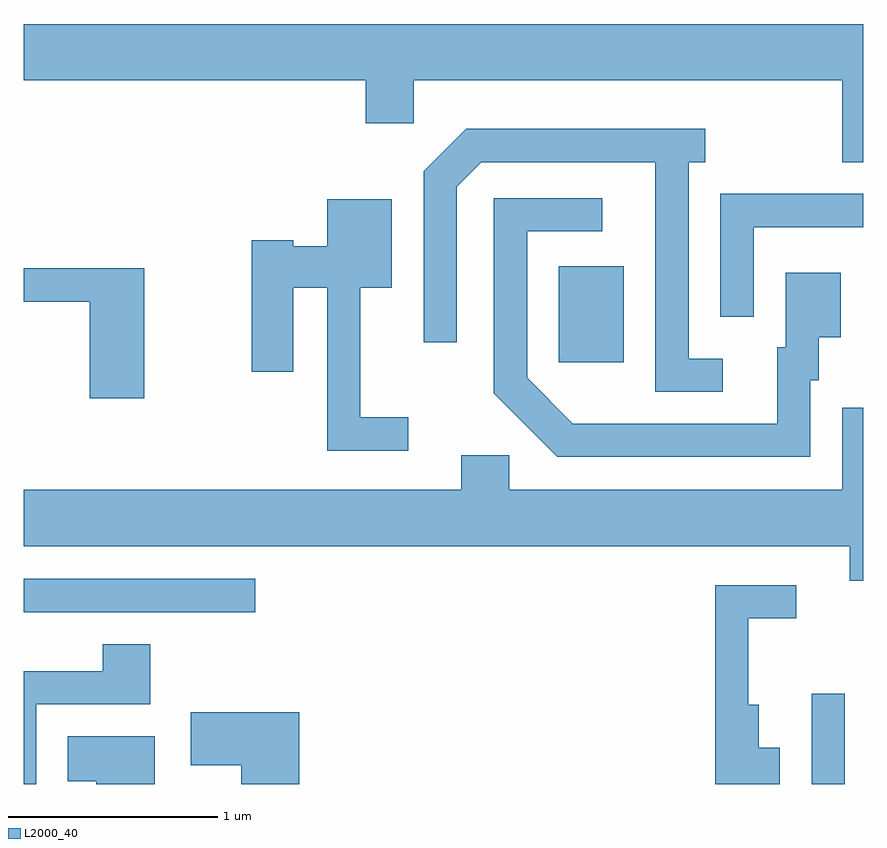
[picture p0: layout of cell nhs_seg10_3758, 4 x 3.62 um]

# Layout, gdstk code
import gdstk
lib = gdstk.Library(unit=1e-6, precision=1e-09)
def R(c, l, rs):  # rectangles x0, y0, x1, y1
    for r in rs: c.add(gdstk.rectangle(r[:2], r[2:], *l))
def P(c, l, *ps):  # polygons
    for p in ps: c.add(gdstk.Polygon(p, *l))
L2000_40 = (2000, 40)

nhs_seg10_3758 = lib.new_cell('nhs_seg10_3758')
R(nhs_seg10_3758, L2000_40, [(299.366,2150.522,299.524,2150.953), (295.611,2151.341,296.713,2151.499), (298.161,2152.531,298.469,2152.989)])
P(nhs_seg10_3758, L2000_40, [(299.611,2154.144),(295.611,2154.144),(295.611,2153.876),(297.241,2153.876),(297.241,2153.671),(297.469,2153.671),(297.469,2153.876),(299.511,2153.876),(299.511,2153.486),(299.611,2153.486)],
  [(298.943,2152.549),(298.779,2152.549),(298.779,2153.486),(298.858,2153.486),(298.858,2153.644),(297.719,2153.644),(297.516,2153.442),(297.516,2152.628),(297.674,2152.628),(297.674,2153.369),(297.792,2153.486),(298.621,2153.486),(298.621,2152.391),(298.943,2152.391)],
  [(299.089,2153.176),(299.611,2153.176),(299.611,2153.334),(298.931,2153.334),(298.931,2152.748),(299.089,2152.748)],
  [(299.359,2152.446),(299.399,2152.446),(299.399,2152.651),(299.504,2152.651),(299.504,2152.959),(299.241,2152.959),(299.241,2152.604),(299.201,2152.604),(299.201,2152.239),(298.227,2152.239),(298.009,2152.457),(298.009,2153.156),(298.368,2153.156),(298.368,2153.314),(297.851,2153.314),(297.851,2152.384),(298.154,2152.081),(299.359,2152.081)],
  [(297.443,2152.269),(297.214,2152.269),(297.214,2152.886),(297.364,2152.886),(297.364,2153.309),(297.056,2153.309),(297.056,2153.084),(296.894,2153.084),(296.894,2153.114),(296.696,2153.114),(296.696,2152.486),(296.894,2152.486),(296.894,2152.886),(297.056,2152.886),(297.056,2152.111),(297.443,2152.111)],
  [(296.184,2152.979),(295.611,2152.979),(295.611,2152.821),(295.926,2152.821),(295.926,2152.361),(296.184,2152.361)],
  [(299.611,2152.314),(299.511,2152.314),(299.511,2151.924),(297.924,2151.924),(297.924,2152.089),(297.696,2152.089),(297.696,2151.924),(295.611,2151.924),(295.611,2151.656),(299.546,2151.656),(299.546,2151.491),(299.611,2151.491)],
  [(299.214,2150.694),(299.114,2150.694),(299.114,2150.899),(299.064,2150.899),(299.064,2151.311),(299.293,2151.311),(299.293,2151.469),(298.906,2151.469),(298.906,2150.522),(299.214,2150.522)],
  [(295.669,2150.901),(296.214,2150.901),(296.214,2151.189),(295.986,2151.189),(295.986,2151.059),(295.611,2151.059),(295.611,2150.522),(295.669,2150.522)],
  [(296.924,2150.864),(296.406,2150.864),(296.406,2150.611),(296.646,2150.611),(296.646,2150.522),(296.924,2150.522)],
  [(296.234,2150.749),(295.821,2150.749),(295.821,2150.536),(295.956,2150.536),(295.956,2150.522),(296.234,2150.522)])

lib.write_gds('nhs_seg10_3758.gds')
